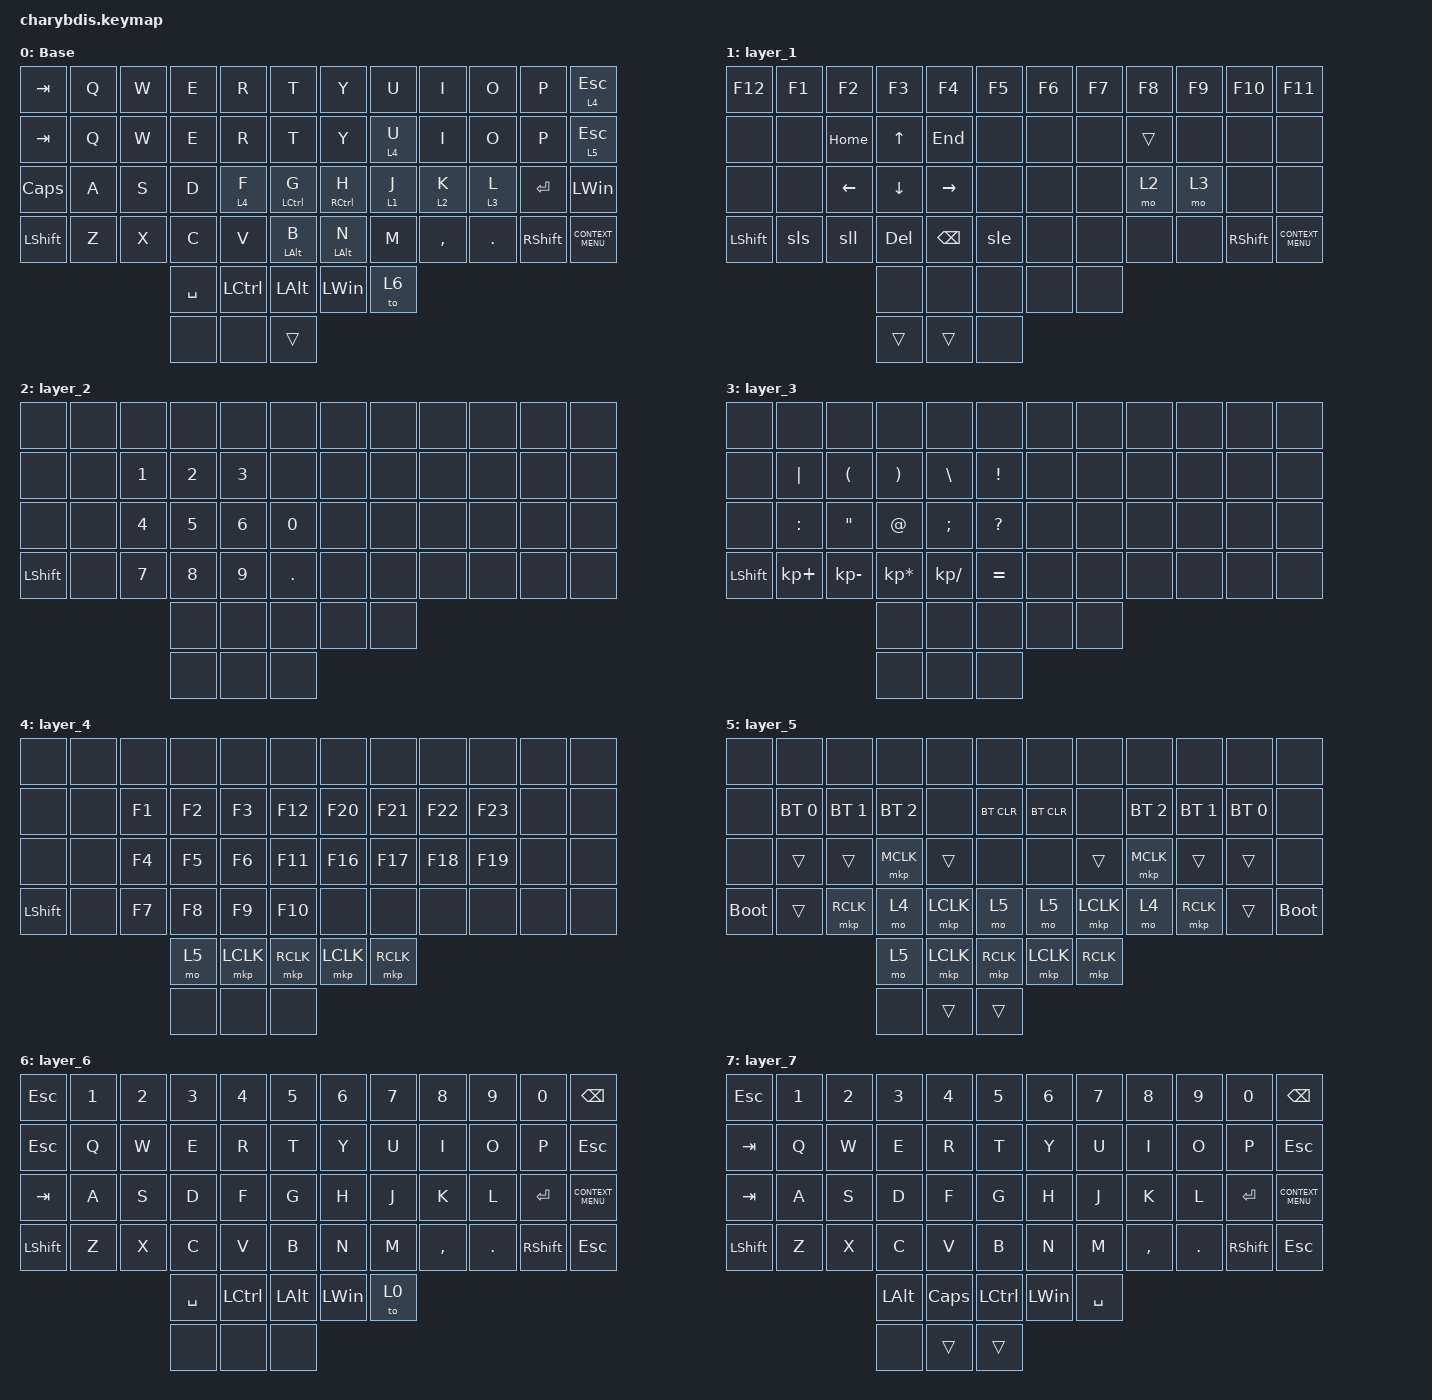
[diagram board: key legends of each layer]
#include <behaviors.dtsi>
#include <dt-bindings/zmk/bt.h>
#include <dt-bindings/zmk/keys.h>
#include <dt-bindings/zmk/mouse.h>



/ {
    combos {
        compatible = "zmk,combos";

        escc {
            bindings = <&kp ESC>;
            key-positions = <17 18>;
            layers = <0>;
        };
    };

behaviors {
u_mt: u_mt {
    compatible = "zmk,behavior-hold-tap";
    label = "u_mt";
    #binding-cells = <2>;
    tapping_term_ms = <200>;      // 增加判定时间
    quick_tap_ms = <150>;         // 快速轻触保护
    global-quick-tap;             // 全局保护
    flavor = "tap-preferred";
    bindings = <&kp>, <&kp>;
};
u_lt: u_lt {
    compatible = "zmk,behavior-hold-tap";
    label = "u_lt";
    #binding-cells = <2>;
    tapping_term_ms = <200>;      // 增加判定时间
    quick_tap_ms = <150>;         // 快速轻触保护
    global-quick-tap;             // 全局保护
    flavor = "tap-preferred";
    bindings = <&mo>, <&kp>;      // 长按=层切换, 轻触=按键
    retro-tap; //启用 retro-tap 功能
};
sel_left: sel_left {
            compatible = "zmk,behavior-macro";
            label = "SEL_LEFT";
            #binding-cells = <0>;
            tap-ms = <5>;
            wait-ms = <5>;
            bindings = 
            <&macro_press &kp LSHIFT>,
            <&macro_tap &kp LEFT_ARROW>,
            <&macro_pause_for_release>, // 等待按键释放
            <&macro_release &kp LSHIFT>; // 释放时再放开Shift
    };
sel_right: sel_right {
            compatible = "zmk,behavior-macro";
            label = "SEL_RIGHT";
            #binding-cells = <0>;
            tap-ms = <5>;
            wait-ms = <5>;
            bindings = 
                <&macro_press &kp RSHIFT>,
                <&macro_tap &kp RIGHT>,
                <&macro_release &kp RSHIFT>;
    };
sel_up: sel_up {
            compatible = "zmk,behavior-macro";
            label = "SEL_UP";
            #binding-cells = <0>;
            tap-ms = <5>;
            wait-ms = <5>;
            bindings = 
                <&macro_press &kp RSHIFT>,
                <&macro_tap &kp UP>,
                <&macro_release &kp RSHIFT>;
    };
sel_down: sel_down {
            compatible = "zmk,behavior-macro";
            label = "SEL_DOWN";
            #binding-cells = <0>;
            tap-ms = <5>;
            wait-ms = <5>;
            bindings = 
                <&macro_press &kp RSHIFT>,
                <&macro_tap &kp DOWN>,
                <&macro_release &kp RSHIFT>;
    };
// 1. 当前光标位置选中到行首 (Shift + Home)
sls: sls {
    compatible = "zmk,behavior-macro";
    label = "SLS";
    #binding-cells = <0>;
    tap-ms = <5>;
    wait-ms = <5>;
    bindings = 
        <&macro_press &kp RSHIFT>,
        <&macro_tap &kp HOME>,
        <&macro_release &kp RSHIFT>;
};

// 2. 当前光标位置选中到行尾 (Shift + End)
sle: sle {
    compatible = "zmk,behavior-macro";
    label = "SLE";
    #binding-cells = <0>;
    tap-ms = <5>;
    wait-ms = <5>;
    bindings = 
        <&macro_press &kp RSHIFT>,
        <&macro_tap &kp END>,
        <&macro_release &kp RSHIFT>;
};

// 3. 选中当前行 (Home → Shift + End)
sll: sll {
    compatible = "zmk,behavior-macro";
    label = "SLL";
    #binding-cells = <0>;
    tap-ms = <5>;
    wait-ms = <5>;
    bindings = 
        <&macro_tap &kp HOME>,
        <&macro_press &kp RSHIFT>,
        <&macro_tap &kp END>,
        <&macro_release &kp RSHIFT>;
};


};


    keymap {
        compatible = "zmk,keymap";

        Base {
            bindings = <
&kp TAB         &kp Q    &kp W         &kp E           &kp R         &kp T             &kp Y           &kp U            &kp I      &kp O      &kp P        &lt 4 ESC
&kp TAB         &kp Q    &kp W         &kp E           &kp R         &kp T             &kp Y           &u_lt 4 U        &kp I      &kp O      &kp P        &lt 5 ESC
&kp CAPS        &kp A    &kp S         &kp D           &u_lt 4 F     &u_mt LCTRL G     &u_mt RCTRL H   &u_lt 1 J        &u_lt 2 K  &u_lt 3 L  &kp ENTER    &kp LWIN
&kp LSHIFT      &kp Z    &kp X         &kp C           &kp V         &u_mt LALT B      &u_mt LALT N    &kp M            &kp COMMA  &kp DOT    &kp RSHIFT   &kp K_CONTEXT_MENU
                                       &kp SPACE       &kp LCTRL     &kp LEFT_ALT      &kp LWIN        &to 6
                                       &none           &none         &trans
            >;

            trackball-bindings = <&tmv_coarse>;//粗略指针层
        };

        layer_1 {
            bindings = <

&kp F12           &kp F1      &kp F2      &kp F3         &kp F4         &kp F5          &kp F6        &kp F7         &kp F8    &kp F9     &kp F10     &kp F11
&none             &none       &kp HOME    &kp UP         &kp END        &none           &none         &none          &trans    &none      &none       &none
&none             &none       &kp LEFT    &kp DOWN       &kp RIGHT      &none           &none         &none          &mo 2     &mo 3      &none       &none
&kp LEFT_SHIFT    &sls        &sll        &kp DEL        &kp BSPC       &sle            &none         &none          &none     &none      &kp RSHIFT  &kp K_CONTEXT_MENU
                                          &none          &none          &none           &none         &none  
                                                         &trans         &trans          &none
            >;
        };

        layer_2 {
            bindings = <
&none         &none     &none         &none         &none         &none        &none   &none  &none  &none  &none  &none
&none         &none     &kp NUMBER_1  &kp NUMBER_2  &kp NUMBER_3  &none        &none   &none  &none  &none  &none  &none
&none         &none     &kp NUMBER_4  &kp NUMBER_5  &kp NUMBER_6  &kp NUMBER_0 &none   &none  &none  &none  &none  &none
&kp LSHFT     &none     &kp NUMBER_7  &kp NUMBER_8  &kp NUMBER_9  &kp DOT      &none   &none  &none  &none  &none  &none
                                      &none         &none         &none        &none   &none  
                                      &none         &none         &none
            >;
        };

        layer_3 {
            bindings = <
&none        &none         &none         &none            &none          &none         &none       &none      &none         &none         &none         &none
&none        &kp PIPE      &kp LPAR      &kp RPAR         &kp BSLH       &kp EXCL      &none       &none      &none         &none         &none         &none
&none        &kp COLON     &kp DQT       &kp AT           &kp SEMI       &kp QMARK     &none       &none      &none         &none         &none        &none
&kp LSHFT    &kp KP_PLUS   &kp KP_MINUS  &kp KP_MULTIPLY  &kp KP_DIVIDE  &kp EQUAL     &none       &none      &none         &none         &none        &none
                                         &none         &none         &none        &none   &none  
                                         &none         &none         &none
            >;
        };

        layer_4 {
            bindings = <
&none         &none     &none         &none      &none      &none        &none   &none   &none    &none   &none  &none
&none         &none     &kp F1        &kp F2     &kp F3     &kp F12      &kp F20 &kp F21 &kp F22  &kp F23 &none  &none
&none         &none     &kp F4        &kp F5     &kp F6     &kp F11      &kp F16 &kp F17 &kp F18  &kp F19 &none  &none
&kp LSHFT     &none     &kp F7        &kp F8     &kp F9     &kp F10      &none   &none   &none    &none   &none  &none
                                      &mo 5      &mkp LCLK  &mkp RCLK    &mkp LCLK  &mkp RCLK
                                      &none      &none      &none
            >;
        };

        layer_5 {
            bindings = <
&none        &none         &none         &none         &none      &none         &none       &none      &none         &none         &none         &none
&none        &bt BT_SEL 0  &bt BT_SEL 1  &bt BT_SEL 2  &none      &bt BT_CLR    &bt BT_CLR  &none      &bt BT_SEL 2  &bt BT_SEL 1  &bt BT_SEL 0  &none
&none        &trans        &trans        &mkp MCLK     &trans     &none         &none       &trans     &mkp MCLK     &trans        &trans        &none
&bootloader  &trans        &mkp RCLK     &mo 4         &mkp LCLK  &mo 5         &mo 5       &mkp LCLK  &mo 4         &mkp RCLK     &trans        &bootloader
                                         &mo 5         &mkp LCLK  &mkp RCLK     &mkp LCLK  &mkp RCLK
                                                       &none      &trans        &trans
            >;

            trackball-bindings = <&tsl>;//滚轮层
        };
        layer_6 {
            bindings = <
&kp ESC         &kp N1   &kp N2  &kp N3          &kp N4        &kp N5            &kp N6          &kp N7           &kp N8     &kp N9   &kp N0       &kp BSPC
&kp ESC         &kp Q    &kp W   &kp E           &kp R         &kp T             &kp Y           &kp U            &kp I      &kp O    &kp P        &kp ESC
&kp TAB         &kp A    &kp S   &kp D           &kp F         &kp G             &kp H           &kp J            &kp K      &kp L    &kp ENTER    &kp K_CONTEXT_MENU
&kp LSHIFT      &kp Z    &kp X   &kp C           &kp V         &kp B             &kp N           &kp M            &kp COMMA  &kp DOT  &kp RSHIFT   &kp ESC
            &kp SPACE       &kp LCTRL     &kp LEFT_ALT      &kp LWIN         &to 0
            &none         &none         &none
            >;

           
        };

        layer_7 {
            bindings = <
&kp ESC         &kp N1   &kp N2  &kp N3          &kp N4        &kp N5            &kp N6          &kp N7           &kp N8     &kp N9   &kp N0       &kp BSPC
&kp TAB         &kp Q    &kp W   &kp E           &kp R         &kp T             &kp Y           &kp U            &kp I      &kp O    &kp P        &kp ESC
&kp TAB         &kp A    &kp S   &kp D           &kp F         &kp G             &kp H           &kp J            &kp K      &kp L    &kp ENTER    &kp K_CONTEXT_MENU
&kp LSHIFT      &kp Z    &kp X   &kp C           &kp V         &kp B             &kp N           &kp M            &kp COMMA  &kp DOT  &kp RSHIFT   &kp ESC
                                 &kp LEFT_ALT    &kp CAPS     &kp LCTRL         &kp LEFT_WIN    &kp SPACE
                                                 &none         &trans            &trans
            >;

            trackball-bindings = <&tmv_fine>;//精准指针层
        };
    };
};
